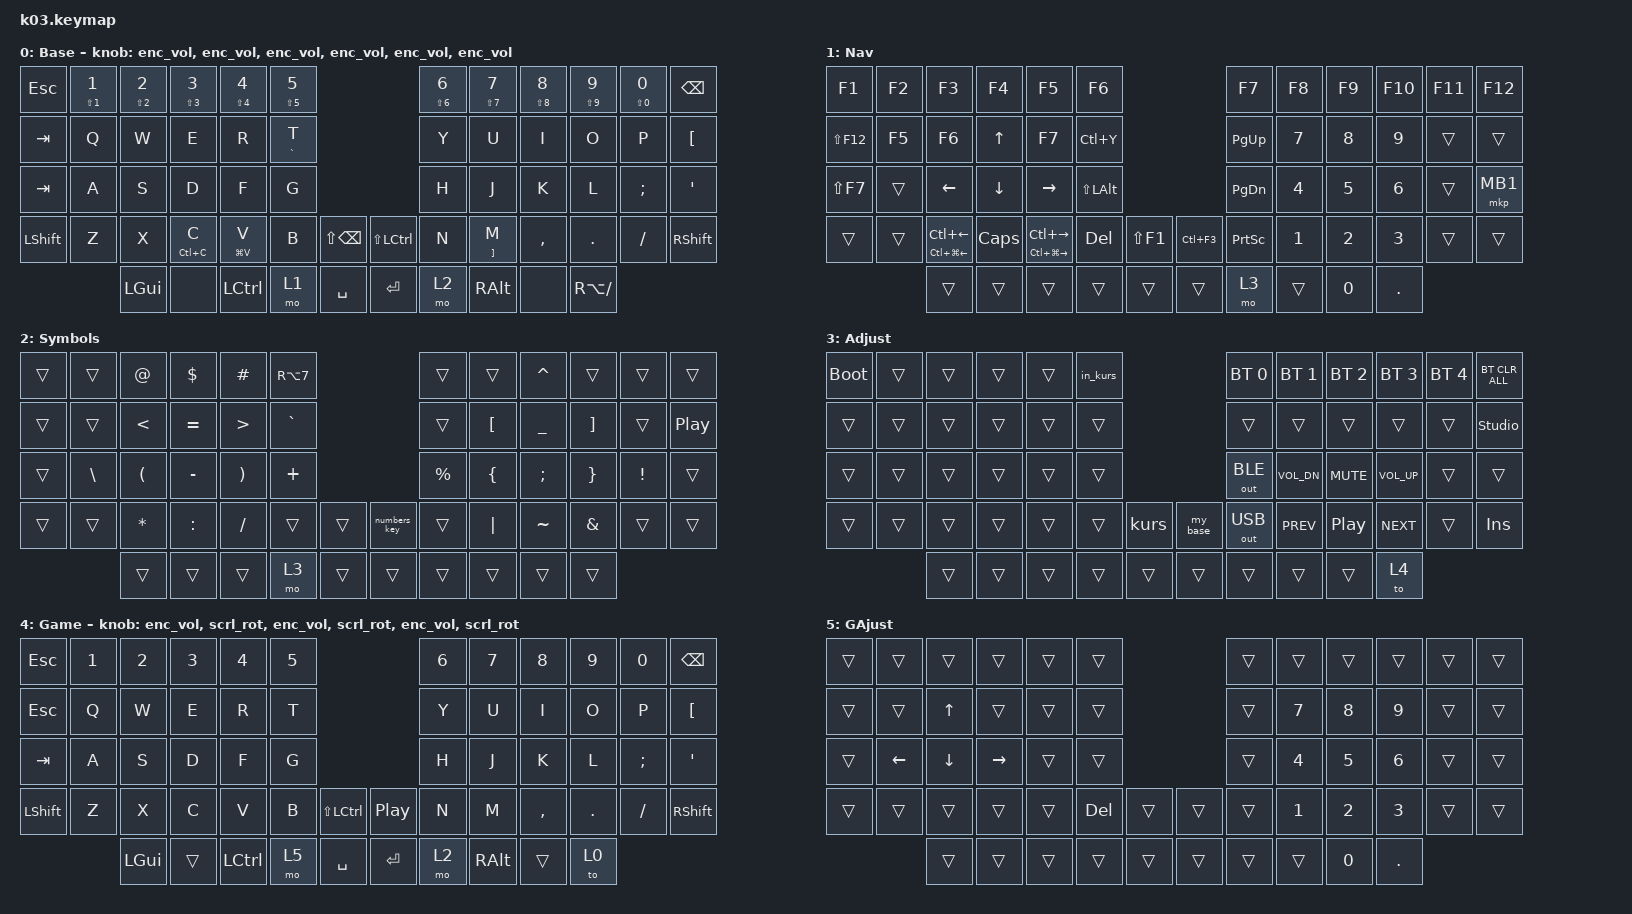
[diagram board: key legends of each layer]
#include "keys_ru.h"
#include <behaviors.dtsi>
#include <dt-bindings/zmk/bt.h>
#include <dt-bindings/zmk/keys.h>
#include <dt-bindings/zmk/outputs.h>
#include <dt-bindings/zmk/pointing.h>

/ {
    behaviors {
        enc_vol: enc_vol {
            compatible = "zmk,behavior-sensor-rotate";
            label = "ENC_VOL";
            #sensor-binding-cells = <0>;
            bindings = <&kp C_VOL_UP>, <&kp C_VOL_DN>;
        };

        longPress: longPress {
            compatible = "zmk,behavior-hold-tap";
            label = "LONGPRESS";
            bindings = <&kp>, <&kp>;

            #binding-cells = <2>;
            tapping-term-ms = <350>;
            flavor = "tap-preferred";
        };

        scrl_rot: scrl_rot {
            compatible = "zmk,behavior-sensor-rotate";
            label = "SCRL_ROT";
            #sensor-binding-cells = <0>;
            bindings = <&kp UP>, <&kp DOWN>;
        };

        HMShiftR: HMShiftR {
            compatible = "zmk,behavior-hold-tap";
            label = "HMSHIFTR";
            bindings = <&kp>, <&kp>;

            #binding-cells = <2>;
            tapping-term-ms = <280>;
            hold-trigger-on-release;
            hold-trigger-key-positions = <0 1 2 3 4 5 12 13 14 15 16 17 24 25 26 27 28 29 36 37 38 39 40 41 42 50 51 52 53 54>;
            quick-tap-ms = <175>;
            require-prior-idle-ms = <150>;
        };

        HMShiftL: HMShiftL {
            compatible = "zmk,behavior-hold-tap";
            label = "HMSHIFTL";
            bindings = <&kp>, <&kp>;

            #binding-cells = <2>;
            tapping-term-ms = <280>;
            hold-trigger-on-release;
            hold-trigger-key-positions = <6 7 8 9 10 11 18 19 20 21 22 23 30 31 32 33 34 35 43 44 45 46 47 48 49 55 56 57 58 59>;
            quick-tap-ms = <175>;
            require-prior-idle-ms = <150>;
        };

        HMR: HMR {
            compatible = "zmk,behavior-hold-tap";
            label = "HMR";
            bindings = <&kp>, <&kp>;

            #binding-cells = <2>;
            tapping-term-ms = <280>;
            hold-trigger-on-release;
            hold-trigger-key-positions = <0 1 2 3 4 5 12 13 14 15 16 17 24 25 26 27 28 29 36 37 38 39 40 41 42 50 51 52 53 54>;
            flavor = "balanced";
            require-prior-idle-ms = <150>;
            quick-tap-ms = <175>;
        };

        HML: HML {
            compatible = "zmk,behavior-hold-tap";
            label = "HML";
            bindings = <&kp>, <&kp>;

            #binding-cells = <2>;
            tapping-term-ms = <280>;
            hold-trigger-on-release;
            hold-trigger-key-positions = <6 7 8 9 10 11 18 19 20 21 22 23 30 31 32 33 34 35 43 44 45 46 47 48 49 55 56 57 58 59>;
            flavor = "balanced";
            quick-tap-ms = <175>;
            require-prior-idle-ms = <150>;
        };
    };

    macros {
        kurs: kurs {
            compatible = "zmk,behavior-macro";
            #binding-cells = <0>;
            bindings = <&kp LS(G) &kp R &kp E &kp E &kp N &kp A &kp T &kp O &kp M &kp N2 &kp N0 &kp N2 &kp N0 &kp ENTER>;
            label = "KURS";
        };

        my_base: my_base {
            compatible = "zmk,behavior-macro";
            #binding-cells = <0>;
            bindings = <&kp LS(G) &kp H &kp B &kp D &kp T &kp N &kp C &kp T &kp V &kp M &kp T &kp N3 &kp N2 &kp N1 &kp ENTER>;
            label = "MY_BASE";
        };

        in_kurs: in_kurs {
            compatible = "zmk,behavior-macro";
            #binding-cells = <0>;
            bindings = <&kp LS(C) &kp I &kp R &kp C &kp L &kp E &kp N1 &kp MINUS &kp LS(W) &kp I &kp N &kp G &kp MINUS &kp LS(R) &kp A &kp N>;
            label = "IN_KURS";
        };

        numbers_key: numbers_key {
            compatible = "zmk,behavior-macro";
            #binding-cells = <0>;
            bindings = <&kp N5 &kp N5 &kp N5 &kp N9 &kp N6 &kp N2 &kp N0 &kp RET>;
            label = "NUMBERS_KEY";
        };
    };

    combos {
        compatible = "zmk,combos";

        LEFT_SQ_BRACK {
            bindings = <&kp LEFT_BRACKET>;
            key-positions = <17 16>;
        };

        RIGHT_SQ_BRACK {
            bindings = <&kp RIGHT_BRACKET>;
            key-positions = <18 19>;
        };

        L_BRACE {
            bindings = <&kp LEFT_BRACE>;
            key-positions = <29 28>;
        };

        R_BRACE {
            bindings = <&kp RIGHT_BRACE>;
            key-positions = <30 31>;
        };

        L_PRAT {
            bindings = <&kp LEFT_PARENTHESIS>;
            key-positions = <41 40>;
        };

        R_PRAT {
            bindings = <&kp RIGHT_PARENTHESIS>;
            key-positions = <44 45>;
        };
    };

    keymap {
        compatible = "zmk,keymap";

        base {
            bindings = <
&kp ESC    &mt LS(N1) N1  &mt LS(N2) N2  &mt LS(N3) N3       &mt LS(N4) N4       &mt LS(N5) N5                                                  &mt LS(N6) N6  &mt LS(N7) N7               &mt LS(N8) N8  &mt LS(N9) N9  &mt LS(N0) N0  &kp BACKSPACE
&kp TAB    &kp Q          &kp W          &kp E               &kp R               &longPress GRAVE T                                             &kp Y          &kp U                       &kp I          &kp O          &kp P          &kp LBKT
&kp TAB    &kp A          &kp S          &kp D               &kp F               &kp G                                                          &kp H          &kp J                       &kp K          &kp L          &kp SEMI       &kp SQT
&kp LSHFT  &kp Z          &kp X          &longPress LC(C) C  &longPress LG(V) V  &kp B               &kp LS(BACKSPACE)    &kp LS(LEFT_CONTROL)  &kp N          &longPress RIGHT_BRACKET M  &kp COMMA      &kp DOT        &kp FSLH       &kp RSHFT
                          &kp LGUI       &none               &kp LCTRL           &mo 1               &kp SPACE            &kp ENTER             &mo 2          &kp RIGHT_ALT               &none          &kp RA(SLASH)
            >;

            display-name = "Base";
            sensor-bindings =
                <&enc_vol>,
                <&enc_vol>,
                <&enc_vol>,
                <&enc_vol>,
                <&enc_vol>,
                <&enc_vol>;
        };

        nav {
            bindings = <
&kp F1       &kp F2  &kp F3                           &kp F4    &kp F5                             &kp F6                                      &kp F7           &kp F8  &kp F9  &kp F10  &kp F11  &kp F12
&kp LS(F12)  &kp F5  &kp F6                           &kp UP    &kp F7                             &kp LC(Y)                                   &kp PG_UP        &kp N7  &kp N8  &kp N9   &trans   &trans
&kp LS(F7)   &trans  &kp LEFT                         &kp DOWN  &kp RIGHT                          &kp LS(LEFT_ALT)                            &kp PG_DN        &kp N4  &kp N5  &kp N6   &trans   &mkp MB1
&trans       &trans  &mt LC(LG(LEFT_ARROW)) LC(LEFT)  &kp CAPS  &mt LC(LG(RIGHT)) LC(RIGHT_ARROW)  &kp DEL           &kp LS(F1)    &kp LC(F3)  &kp PRINTSCREEN  &kp N1  &kp N2  &kp N3   &trans   &trans
                     &trans                           &trans    &trans                             &trans            &trans        &trans      &mo 3            &trans  &kp N0  &kp DOT
            >;

            display-name = "Nav";
        };

        sym {
            bindings = <
&trans  &trans    &kp AT    &kp DLLR   &kp HASH  &kp RA(N7)                          &trans     &trans    &kp CARET  &trans    &trans    &trans
&trans  &trans    &kp LT    &kp EQUAL  &kp GT    &kp GRAVE                           &trans     &kp LBKT  &kp UNDER  &kp RBKT  &trans    &kp C_PLAY_PAUSE
&trans  &kp BSLH  &kp LPAR  &kp MINUS  &kp RPAR  &kp PLUS                            &kp PRCNT  &kp LBRC  &kp SEMI   &kp RBRC  &kp EXCL  &trans
&trans  &trans    &kp STAR  &kp COLON  &kp FSLH  &trans      &trans    &numbers_key  &trans     &kp PIPE  &kp TILDE  &kp AMPS  &trans    &trans
                  &trans    &trans     &trans    &mo 3       &trans    &trans        &trans     &trans    &trans     &trans
            >;

            display-name = "Symbols";
        };

        adj {
            bindings = <
&bootloader  &trans  &trans  &trans  &trans  &in_kurs                      &bt BT_SEL 0  &bt BT_SEL 1  &bt BT_SEL 2      &bt BT_SEL 3  &bt BT_SEL 4  &bt BT_CLR_ALL
&trans       &trans  &trans  &trans  &trans  &trans                        &trans        &trans        &trans            &trans        &trans        &studio_unlock
&trans       &trans  &trans  &trans  &trans  &trans                        &out OUT_BLE  &kp C_VOL_DN  &kp C_MUTE        &kp C_VOL_UP  &trans        &trans
&trans       &trans  &trans  &trans  &trans  &trans    &kurs     &my_base  &out OUT_USB  &kp C_PREV    &kp C_PLAY_PAUSE  &kp C_NEXT    &trans        &kp INS
                     &trans  &trans  &trans  &trans    &trans    &trans    &trans        &trans        &trans            &to 4
            >;

            display-name = "Adjust";
        };

        Game {
            display-name = "Game";
            bindings = <
&kp ESC    &kp N1  &kp N2    &kp N3  &kp N4     &kp N5                                     &kp N6  &kp N7         &kp N8     &kp N9   &kp N0    &kp BACKSPACE
&kp ESC    &kp Q   &kp W     &kp E   &kp R      &kp T                                      &kp Y   &kp U          &kp I      &kp O    &kp P     &kp LEFT_BRACKET
&kp TAB    &kp A   &kp S     &kp D   &kp F      &kp G                                      &kp H   &kp J          &kp K      &kp L    &kp SEMI  &kp SQT
&kp LSHFT  &kp Z   &kp X     &kp C   &kp V      &kp B   &kp LS(LCTRL)    &kp C_PLAY_PAUSE  &kp N   &kp M          &kp COMMA  &kp DOT  &kp FSLH  &kp RSHFT
                   &kp LGUI  &trans  &kp LCTRL  &mo 5   &kp SPACE        &kp ENTER         &mo 2   &kp RIGHT_ALT  &trans     &to 0
            >;

            sensor-bindings =
                <&enc_vol>,
                <&scrl_rot>,
                <&enc_vol>,
                <&scrl_rot>,
                <&enc_vol>,
                <&scrl_rot>;
        };

        Game_mo1 {
            bindings = <
&trans  &trans    &trans    &trans     &trans  &trans                     &trans  &trans  &trans  &trans   &trans  &trans
&trans  &trans    &kp UP    &trans     &trans  &trans                     &trans  &kp N7  &kp N8  &kp N9   &trans  &trans
&trans  &kp LEFT  &kp DOWN  &kp RIGHT  &trans  &trans                     &trans  &kp N4  &kp N5  &kp N6   &trans  &trans
&trans  &trans    &trans    &trans     &trans  &kp DEL  &trans    &trans  &trans  &kp N1  &kp N2  &kp N3   &trans  &trans
                  &trans    &trans     &trans  &trans   &trans    &trans  &trans  &trans  &kp N0  &kp DOT
            >;

            label = "GAjust";
        };
    };
};
